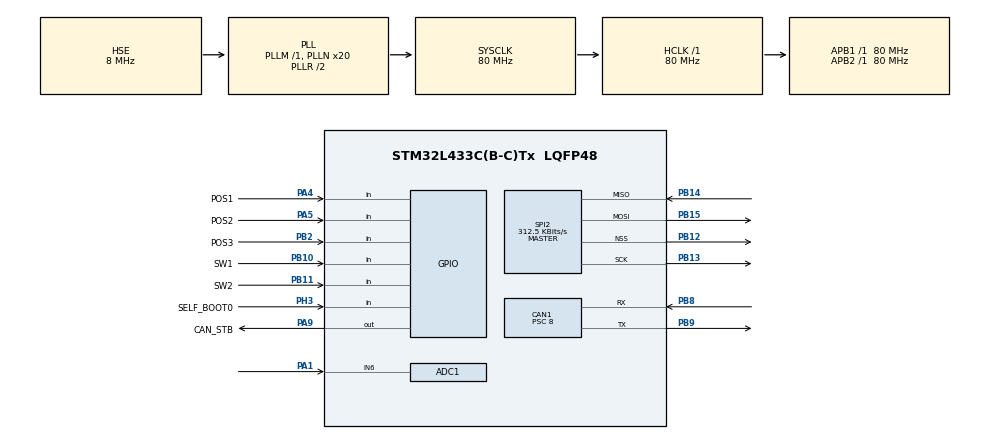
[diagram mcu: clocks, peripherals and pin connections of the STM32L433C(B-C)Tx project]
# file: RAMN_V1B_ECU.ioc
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ADC1.Channel-7\#ChannelRegularConversion=ADC_CHANNEL_6
ADC1.ClockPrescaler=ADC_CLOCK_ASYNC_DIV256
ADC1.ContinuousConvMode=ENABLE
ADC1.DMAContinuousRequests=ENABLE
ADC1.NbrOfConversionFlag=1
ADC1.OffsetNumber-7\#ChannelRegularConversion=ADC_OFFSET_NONE
ADC1.Overrun=ADC_OVR_DATA_OVERWRITTEN
ADC1.Rank-7\#ChannelRegularConversion=1
ADC1.SamplingTime-7\#ChannelRegularConversion=ADC_SAMPLETIME_2CYCLES_5
ADC1.master=1
CAN1.BS1=CAN_BS1_11TQ
CAN1.BS2=CAN_BS2_8TQ
CAN1.CalculateTimeQuantum=100.0
CAN1.NART=ENABLE
CAN1.Prescaler=8
Dma.ADC1.0.Direction=DMA_PERIPH_TO_MEMORY
Dma.ADC1.0.Instance=DMA1_Channel1
Dma.ADC1.0.MemDataAlignment=DMA_MDATAALIGN_HALFWORD
Dma.ADC1.0.MemInc=DMA_MINC_ENABLE
Dma.ADC1.0.Mode=DMA_CIRCULAR
Dma.ADC1.0.PeriphDataAlignment=DMA_PDATAALIGN_HALFWORD
Dma.ADC1.0.PeriphInc=DMA_PINC_DISABLE
Dma.ADC1.0.Priority=DMA_PRIORITY_LOW
Dma.Request0=ADC1
FREERTOS.Tasks01=receiveCANTask,16,1024,receiveCANFunction,Default,NULL,Dynamic,NULL,NULL;send_can,48,256,send_can_func,Default,NULL,Dynamic,NULL,NULL;periodic_normal,24,256,periodic_normal_func,Default,NULL,Dynamic,NULL,NULL;periodic_low,8,256,periodic_low_func,Default,NULL,Dynamic,NULL,NULL;periodic_belown,16,256,periodic_belownormal_func,Default,NULL,Dynamic,NULL,NULL;periodic_high,40,256,periodic_high_func,Default,NULL,Dynamic,NULL,NULL
FREERTOS.configTOTAL_HEAP_SIZE=10000
Mcu.Family=STM32L4
Mcu.Name=STM32L433C(B-C)Tx
Mcu.Package=LQFP48
NVIC.CAN1_RX0_IRQn=true\:5\:0\:false\:false\:true\:true\:true\:true
NVIC.CAN1_RX1_IRQn=true\:5\:0\:false\:false\:true\:true\:true\:true
NVIC.CAN1_SCE_IRQn=true\:5\:0\:false\:false\:true\:true\:true\:true
NVIC.CAN1_TX_IRQn=true\:5\:0\:false\:false\:true\:true\:true\:true
NVIC.DMA1_Channel1_IRQn=true\:5\:0\:false\:false\:true\:true\:false\:true
NVIC.PriorityGroup=NVIC_PRIORITYGROUP_4
NVIC.RNG_IRQn=true\:6\:0\:true\:false\:true\:true\:true\:true
NVIC.TIM1_UP_TIM16_IRQn=true\:0\:0\:false\:false\:true\:false\:false\:true
NVIC.TimeBase=TIM1_UP_TIM16_IRQn
NVIC.TimeBaseIP=TIM1
PA1.Signal=ADCx_IN6
PA13\ (JTMS-SWDIO).Mode=JTAG_5_pins
PA13\ (JTMS-SWDIO).Signal=SYS_JTMS-SWDIO
PA14\ (JTCK-SWCLK).Mode=JTAG_5_pins
PA14\ (JTCK-SWCLK).Signal=SYS_JTCK-SWCLK
PA15\ (JTDI).Mode=JTAG_5_pins
PA15\ (JTDI).Signal=SYS_JTDI
PA4.GPIO_Label=POS1
PA4.GPIO_PuPd=GPIO_PULLUP
PA4.Signal=GPIO_Input
PA5.GPIO_Label=POS2
PA5.GPIO_PuPd=GPIO_PULLUP
PA5.Signal=GPIO_Input
PA9.GPIO_Label=CAN_STB
PA9.Signal=GPIO_Output
PB10.GPIO_Label=SW1
PB10.GPIO_PuPd=GPIO_PULLUP
PB10.Signal=GPIO_Input
PB11.GPIO_Label=SW2
PB11.GPIO_PuPd=GPIO_PULLUP
PB11.Signal=GPIO_Input
PB12.Mode=NSS_Signal_Hard_Output
PB12.Signal=SPI2_NSS
PB13.Mode=Full_Duplex_Master
PB13.Signal=SPI2_SCK
PB14.Mode=Full_Duplex_Master
PB14.Signal=SPI2_MISO
PB15.Mode=Full_Duplex_Master
PB15.Signal=SPI2_MOSI
PB2.GPIO_Label=POS3
PB2.GPIO_PuPd=GPIO_PULLUP
PB2.Signal=GPIO_Input
PB3\ (JTDO-TRACESWO).Mode=JTAG_5_pins
PB3\ (JTDO-TRACESWO).Signal=SYS_JTDO-SWO
PB4\ (NJTRST).Mode=JTAG_5_pins
PB4\ (NJTRST).Signal=SYS_JTRST
PB8.Mode=Master
PB8.Signal=CAN1_RX
PB9.Mode=Master
PB9.Signal=CAN1_TX
PH0-OSC_IN\ (PH0).Mode=HSE-External-Oscillator
PH0-OSC_IN\ (PH0).Signal=RCC_OSC_IN
PH1-OSC_OUT\ (PH1).Mode=HSE-External-Oscillator
PH1-OSC_OUT\ (PH1).Signal=RCC_OSC_OUT
PH3-BOOT0.GPIO_Label=SELF_BOOT0
PH3-BOOT0.Signal=GPIO_Input
ProjectManager.HeapSize=0x200
ProjectManager.StackSize=0x400
ProjectManager.TargetToolchain=STM32CubeIDE
RCC.ADCFreq_Value=48000000
RCC.AHBFreq_Value=80000000
RCC.APB1Freq_Value=80000000
RCC.APB1TimFreq_Value=80000000
RCC.APB2Freq_Value=80000000
RCC.APB2TimFreq_Value=80000000
RCC.CortexFreq_Value=80000000
RCC.HCLKFreq_Value=80000000
RCC.HSE_VALUE=8000000
RCC.HSI48_VALUE=48000000
RCC.HSICalibrationValue=16
RCC.HSI_VALUE=16000000
RCC.LSE_VALUE=32768
RCC.MSI_VALUE=4000000
RCC.PLLN=20
RCC.PLLSAI1N=12
RCC.PLLSourceVirtual=RCC_PLLSOURCE_HSE
RCC.SYSCLKFreq_VALUE=80000000
RCC.SYSCLKSource=RCC_SYSCLKSOURCE_PLLCLK
RCC.USBFreq_Value=48000000
RCC.VCOOutputFreq_Value=160000000
SH.ADCx_IN6.0=ADC1_IN6,IN6-Single-Ended
SPI2.BaudRatePrescaler=SPI_BAUDRATEPRESCALER_256
SPI2.CalculateBaudRate=312.5 KBits/s
SPI2.DataSize=SPI_DATASIZE_8BIT
SPI2.Direction=SPI_DIRECTION_2LINES
SPI2.Mode=SPI_MODE_MASTER
SPI2.VirtualNSS=VM_NSSHARD
SPI2.VirtualType=VM_MASTER
VP_FREERTOS_VS_CMSIS_V2.Mode=CMSIS_V2
VP_RNG_VS_RNG.Mode=RNG_Activate
VP_SYS_VS_tim1.Mode=TIM1
board=custom

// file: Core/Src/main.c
/* USER CODE BEGIN Header */
/**
 ******************************************************************************
 * @file           : main.c
 * @brief          : Main program body
 ******************************************************************************
 * @attention
 *
 * <h2><center>&copy; Copyright (c) 2020 STMicroelectronics.
 * All rights reserved.</center></h2>
 * <h2><center>&copy; Copyright (c) 2020 TOYOTA MOTOR CORPORATION.
 * ALL RIGHTS RESERVED.</center></h2>
 *
 * This software component is licensed by ST under BSD 3-Clause license,
 * the "License"; You may not use this file except in compliance with the
 * License. You may obtain a copy of the License at:
 *                        opensource.org/licenses/BSD-3-Clause
 *
 ******************************************************************************
 */
/* USER CODE END Header */

#include "main.h"
#include "cmsis_os.h"

ADC_HandleTypeDef hadc1;
DMA_HandleTypeDef hdma_adc1;

CAN_HandleTypeDef hcan1;

RNG_HandleTypeDef hrng;

SPI_HandleTypeDef hspi2;

/* Definitions for receiveCANTask */
osThreadId_t receiveCANTaskHandle;
const osThreadAttr_t receiveCANTask_attributes = {
  .name = "receiveCANTask",
  .priority = (osPriority_t) osPriorityBelowNormal,
  .stack_size = 1024 * 4
};
/* Definitions for send_can */
osThreadId_t send_canHandle;
const osThreadAttr_t send_can_attributes = {
  .name = "send_can",
  .priority = (osPriority_t) osPriorityRealtime,
  .stack_size = 256 * 4
};
/* Definitions for periodic_normal */
osThreadId_t periodic_normalHandle;
const osThreadAttr_t periodic_normal_attributes = {
  .name = "periodic_normal",
  .priority = (osPriority_t) osPriorityNormal,
  .stack_size = 256 * 4
};
/* Definitions for periodic_low */
osThreadId_t periodic_lowHandle;
const osThreadAttr_t periodic_low_attributes = {
  .name = "periodic_low",
  .priority = (osPriority_t) osPriorityLow,
  .stack_size = 256 * 4
};
/* Definitions for periodic_belown */
osThreadId_t periodic_belownHandle;
const osThreadAttr_t periodic_belown_attributes = {
  .name = "periodic_belown",
  .priority = (osPriority_t) osPriorityBelowNormal,
  .stack_size = 256 * 4
};
/* Definitions for periodic_high */
osThreadId_t periodic_highHandle;
const osThreadAttr_t periodic_high_attributes = {
  .name = "periodic_high",
  .priority = (osPriority_t) osPriorityHigh,
  .stack_size = 256 * 4
};
/* USER CODE BEGIN PV */
CAN_FilterTypeDef  sFilterConfig;
CAN_RxHeaderTypeDef   RxHeader;
uint8_t               RxData[8];
uint32_t              TxMailbox;
typedef struct{
	CAN_TxHeaderTypeDef TxHeader;
	uint8_t data[8];
	uint8_t requireSend;
	uint16_t counter;
	uint32_t random;
} period_msg_t;

#define MAXIMUM_TX_MSG_COUNT 16
//declare space in memory to save messages
period_msg_t msg1;
period_msg_t msg2;
period_msg_t msg3;
period_msg_t msg4;
period_msg_t msg5;
period_msg_t msg6;
period_msg_t msg7;
period_msg_t msg8;
period_msg_t msg9;
period_msg_t msg10;
period_msg_t msg11;
period_msg_t msg12;
period_msg_t msg13;
period_msg_t msg14;
period_msg_t msg15;
period_msg_t msg16;
const period_msg_t* tx_msgs[MAXIMUM_TX_MSG_COUNT] = {&msg1, &msg2, &msg3, &msg4, &msg5, &msg6, &msg7, &msg8, &msg9, &msg10, &msg11, &msg12, &msg13, &msg14, &msg15, &msg16 };

#define ADD_RANDOM_DATA
#ifdef ADD_RANDOM_DATA
uint16_t rng_counter = 0;
#endif

//#define DOMAIN_POWERTRAIN
#define DOMAIN_CHASSIS
//#define DOMAIN_BODY

#if defined(DOMAIN_POWERTRAIN) || defined(DOMAIN_CHASSIS) || defined(DOMAIN_BODY)
TickType_t high_period = 10;
TickType_t normal_period = 50;
TickType_t belownormal_period = 100;
TickType_t low_period = 500;
#endif

#ifdef DOMAIN_POWERTRAIN
const uint16_t canids[MAXIMUM_TX_MSG_COUNT] = {0x24, 0x39, 0x77, 0x83, 0x146, 0x15A, 0x16F, 0x183, 0x18D, 0x19A, 0x3D4, 0x482};
const period_msg_t* tx_high_msgs[] = {&msg1,&msg2,&msg3,&msg4 };
const period_msg_t* tx_normal_msgs[] = {&msg5,&msg6,&msg7,&msg8,&msg9,&msg10};
const period_msg_t* tx_belownormal_msgs[] = {};
const period_msg_t* tx_low_msgs[] = {&msg11,&msg12};

#define BRAKE msg1
#define ACCEL msg2
#define SHIFT msg3
#define TURNINDICATOR msg4
#define ABS msg6
#define ENGINEMALFUNC msg9
uint8_t brake_command[2] = {0,0};
uint8_t accel_command[2] = {0,0};
uint8_t shift_command[1] = {0};
uint8_t current_shift = 0;
uint8_t turn_signal = 0;
uint8_t center_button_state = 0;
uint8_t previous_adc = 0xF;
#endif

#ifdef DOMAIN_CHASSIS
const uint16_t canids[MAXIMUM_TX_MSG_COUNT] = {0x62, 0x98, 0x198, 0x1A7, 0x1B1, 0x1D3, 0x25C, 0x271, 0x29C, 0x2B1, 0x3DE};
const period_msg_t* tx_high_msgs[] = {&msg1,&msg2};
const period_msg_t* tx_normal_msgs[] = {&msg3,&msg4,&msg5,&msg6};
const period_msg_t* tx_belownormal_msgs[] = {&msg7,&msg8,&msg9,&msg10};
const period_msg_t* tx_low_msgs[] = {&msg11};

#define STEERING msg1
#define HORN msg2
#define STEERINGMALFUNC msg3
#define LAMP msg4
#define SIDEBRAKE msg6
uint8_t steering_command[2] = {0x08,0};
uint8_t sidebrake_command[1] = {0};
#endif

#ifdef DOMAIN_BODY
const uint16_t canids[MAXIMUM_TX_MSG_COUNT] = {0x8D, 0xb4, 0x1b8, 0x1bb, 0x266, 0x27b, 0x286, 0x290, 0x2a6, 0x2bb, 0x420, 0x457, 0x461, 0x46c, 0x477};
const period_msg_t* tx_high_msgs[] = {&msg1, &msg2};
const period_msg_t* tx_normal_msgs[] = {&msg3,&msg4};
const period_msg_t* tx_belownormal_msgs[] = {&msg5,&msg6,&msg7,&msg7,&msg9,&msg10};
const period_msg_t* tx_low_msgs[] = {&msg11,&msg12,&msg13,&msg14,&msg15};

#define TI_STATE msg1
#define HL_STATE msg4
#define ENGINESTATE msg3
#define LOCKSTATE msg7

#define LED_LEFT_TURN 	(1 << 0)
#define LED_HIGH_BEAM 	(1 << 1)
#define LED_WARNING 	(1 << 2)
#define LED_ENGINE 		(1 << 3)
#define LED_TAIL 		(1 << 4)
#define LED_SIDEBRAKE 	(1 << 5)
#define LED_RIGHT_TURN 	(1 << 6)
#define LED_LOW_BEAM 	(1 << 7)

//Key positions: 00 -> right //10 -> center  11 -> left
#define KEY_POS_LEFT 3
#define KEY_POS_CENTER 2
#define KEY_POS_RIGHT 0

uint8_t lockstate = 0;
uint8_t ledstate = 0x00;

#endif

#define TX_HIGH_MSG_COUNT (sizeof(tx_high_msgs)/sizeof(period_msg_t*))
#define TX_NORMAL_MSG_COUNT (sizeof(tx_normal_msgs)/sizeof(period_msg_t*))
#define TX_BELOWNORMAL_MSG_COUNT (sizeof(tx_belownormal_msgs)/sizeof(period_msg_t*))
#define TX_LOW_MSG_COUNT (sizeof(tx_low_msgs)/sizeof(period_msg_t*))
#define TX_MSG_COUNT (TX_HIGH_MSG_COUNT + TX_NORMAL_MSG_COUNT + TX_BELOWNORMAL_MSG_COUNT + TX_LOW_MSG_COUNT)

uint16_t ADCValues[3] = {0,0,0};

uint8_t newBaud = 0;
/* USER CODE END PV */

void SystemClock_Config(void);
static void MX_GPIO_Init(void);
static void MX_DMA_Init(void);
static void MX_CAN1_Init(void);
static void MX_SPI2_Init(void);
static void MX_RNG_Init(void);
static void MX_ADC1_Init(void);
void receiveCANFunction(void *argument);
void send_can_func(void *argument);
void periodic_normal_func(void *argument);
void periodic_low_func(void *argument);
void periodic_belownormal_func(void *argument);
void periodic_high_func(void *argument);

int main(void)
{

  /* MCU Configuration--------------------------------------------------------*/

  /* Reset of all peripherals, Initializes the Flash interface and the Systick. */
  HAL_Init();

  /* USER CODE BEGIN Init */
	for(uint8_t i = 0; i < TX_MSG_COUNT;i++)
	{
		period_msg_t* msg = (period_msg_t*)tx_msgs[i];
		msg->TxHeader.StdId = canids[i];
		msg->TxHeader.ExtId = 0x00;
		msg->TxHeader.RTR = CAN_RTR_DATA;
		msg->TxHeader.IDE = CAN_ID_STD;
		msg->TxHeader.DLC = 8;
#ifdef ADD_RANDOM_DATA
		msg->TxHeader.DLC = 8;
#endif
		msg->TxHeader.TransmitGlobalTime = DISABLE;
		msg->counter = 0;
		msg->random = 0;
	}
  /* USER CODE END Init */

  /* Configure the system clock */
  SystemClock_Config();

  /* Initialize all configured peripherals */
  MX_GPIO_Init();
  MX_DMA_Init();
  MX_CAN1_Init();
  MX_SPI2_Init();
  MX_RNG_Init();
  MX_ADC1_Init();
  /* USER CODE BEGIN 2 */

	// Pull STBY line of CAN transceiver low (high = transceiver OFF)
	HAL_GPIO_WritePin(CAN_STB_GPIO_Port, CAN_STB_Pin, GPIO_PIN_RESET);

  /* USER CODE END 2 */

  /* Init scheduler */
  osKernelInitialize();

  /* Create the thread(s) */
  /* creation of receiveCANTask */
  receiveCANTaskHandle = osThreadNew(receiveCANFunction, NULL, &receiveCANTask_attributes);

  /* creation of send_can */
  send_canHandle = osThreadNew(send_can_func, NULL, &send_can_attributes);

  /* creation of periodic_normal */
  periodic_normalHandle = osThreadNew(periodic_normal_func, NULL, &periodic_normal_attributes);

  /* creation of periodic_low */
  periodic_lowHandle = osThreadNew(periodic_low_func, NULL, &periodic_low_attributes);

  /* creation of periodic_belown */
  periodic_belownHandle = osThreadNew(periodic_belownormal_func, NULL, &periodic_belown_attributes);

  /* creation of periodic_high */
  periodic_highHandle = osThreadNew(periodic_high_func, NULL, &periodic_high_attributes);

  /* USER CODE BEGIN RTOS_THREADS */
	/* add threads, ... */
#ifdef ADD_RANDOM_DATA
	//Refresh  RNG pool
	rng_counter = 0;
	if (HAL_RNG_GenerateRandomNumber_IT(&hrng) != HAL_OK)
	{
		/* RNG peripheral start-up error */
		Error_Handler();
	}
#endif
  /* USER CODE END RTOS_THREADS */

  /* Start scheduler */
  osKernelStart();

  /* We should never get here as control is now taken by the scheduler */
  /* Infinite loop */
	while (1)
	{

	}
}

void SystemClock_Config(void)
{
  RCC_OscInitTypeDef RCC_OscInitStruct = {0};
  RCC_ClkInitTypeDef RCC_ClkInitStruct = {0};
  RCC_PeriphCLKInitTypeDef PeriphClkInit = {0};

  /** Initializes the CPU, AHB and APB busses clocks
  */
  RCC_OscInitStruct.OscillatorType = RCC_OSCILLATORTYPE_HSE;
  RCC_OscInitStruct.HSEState = RCC_HSE_ON;
  RCC_OscInitStruct.PLL.PLLState = RCC_PLL_ON;
  RCC_OscInitStruct.PLL.PLLSource = RCC_PLLSOURCE_HSE;
  RCC_OscInitStruct.PLL.PLLM = 1;
  RCC_OscInitStruct.PLL.PLLN = 20;
  RCC_OscInitStruct.PLL.PLLP = RCC_PLLP_DIV7;
  RCC_OscInitStruct.PLL.PLLQ = RCC_PLLQ_DIV2;
  RCC_OscInitStruct.PLL.PLLR = RCC_PLLR_DIV2;
  if (HAL_RCC_OscConfig(&RCC_OscInitStruct) != HAL_OK)
  {
    Error_Handler();
  }
  /** Initializes the CPU, AHB and APB busses clocks
  */
  RCC_ClkInitStruct.ClockType = RCC_CLOCKTYPE_HCLK|RCC_CLOCKTYPE_SYSCLK
                              |RCC_CLOCKTYPE_PCLK1|RCC_CLOCKTYPE_PCLK2;
  RCC_ClkInitStruct.SYSCLKSource = RCC_SYSCLKSOURCE_PLLCLK;
  RCC_ClkInitStruct.AHBCLKDivider = RCC_SYSCLK_DIV1;
  RCC_ClkInitStruct.APB1CLKDivider = RCC_HCLK_DIV1;
  RCC_ClkInitStruct.APB2CLKDivider = RCC_HCLK_DIV1;

  if (HAL_RCC_ClockConfig(&RCC_ClkInitStruct, FLASH_LATENCY_4) != HAL_OK)
  {
    Error_Handler();
  }
  PeriphClkInit.PeriphClockSelection = RCC_PERIPHCLK_RNG|RCC_PERIPHCLK_ADC;
  PeriphClkInit.AdcClockSelection = RCC_ADCCLKSOURCE_PLLSAI1;
  PeriphClkInit.RngClockSelection = RCC_RNGCLKSOURCE_PLLSAI1;
  PeriphClkInit.PLLSAI1.PLLSAI1Source = RCC_PLLSOURCE_HSE;
  PeriphClkInit.PLLSAI1.PLLSAI1M = 1;
  PeriphClkInit.PLLSAI1.PLLSAI1N = 12;
  PeriphClkInit.PLLSAI1.PLLSAI1P = RCC_PLLP_DIV7;
  PeriphClkInit.PLLSAI1.PLLSAI1Q = RCC_PLLQ_DIV2;
  PeriphClkInit.PLLSAI1.PLLSAI1R = RCC_PLLR_DIV2;
  PeriphClkInit.PLLSAI1.PLLSAI1ClockOut = RCC_PLLSAI1_48M2CLK|RCC_PLLSAI1_ADC1CLK;
  if (HAL_RCCEx_PeriphCLKConfig(&PeriphClkInit) != HAL_OK)
  {
    Error_Handler();
  }
  /** Configure the main internal regulator output voltage
  */
  if (HAL_PWREx_ControlVoltageScaling(PWR_REGULATOR_VOLTAGE_SCALE1) != HAL_OK)
  {
    Error_Handler();
  }
}

static void MX_ADC1_Init(void)
{

  ADC_ChannelConfTypeDef sConfig = {0};

  /** Common config
  */
  hadc1.Instance = ADC1;
  hadc1.Init.ClockPrescaler = ADC_CLOCK_ASYNC_DIV256;
  hadc1.Init.Resolution = ADC_RESOLUTION_12B;
  hadc1.Init.DataAlign = ADC_DATAALIGN_RIGHT;
  hadc1.Init.ScanConvMode = ADC_SCAN_DISABLE;
  hadc1.Init.EOCSelection = ADC_EOC_SINGLE_CONV;
  hadc1.Init.LowPowerAutoWait = DISABLE;
  hadc1.Init.ContinuousConvMode = ENABLE;
  hadc1.Init.NbrOfConversion = 1;
  hadc1.Init.DiscontinuousConvMode = DISABLE;
  hadc1.Init.NbrOfDiscConversion = 1;
  hadc1.Init.ExternalTrigConv = ADC_SOFTWARE_START;
  hadc1.Init.ExternalTrigConvEdge = ADC_EXTERNALTRIGCONVEDGE_NONE;
  hadc1.Init.DMAContinuousRequests = ENABLE;
  hadc1.Init.Overrun = ADC_OVR_DATA_OVERWRITTEN;
  hadc1.Init.OversamplingMode = DISABLE;
  if (HAL_ADC_Init(&hadc1) != HAL_OK)
  {
    Error_Handler();
  }
  /** Configure Regular Channel
  */
  sConfig.Channel = ADC_CHANNEL_6;
  sConfig.Rank = ADC_REGULAR_RANK_1;
  sConfig.SamplingTime = ADC_SAMPLETIME_2CYCLES_5;
  sConfig.SingleDiff = ADC_SINGLE_ENDED;
  sConfig.OffsetNumber = ADC_OFFSET_NONE;
  sConfig.Offset = 0;
  if (HAL_ADC_ConfigChannel(&hadc1, &sConfig) != HAL_OK)
  {
    Error_Handler();
  }

}

static void MX_CAN1_Init(void)
{

  hcan1.Instance = CAN1;
  hcan1.Init.Prescaler = 8;
  hcan1.Init.Mode = CAN_MODE_NORMAL;
  hcan1.Init.SyncJumpWidth = CAN_SJW_1TQ;
  hcan1.Init.TimeSeg1 = CAN_BS1_11TQ;
  hcan1.Init.TimeSeg2 = CAN_BS2_8TQ;
  hcan1.Init.TimeTriggeredMode = DISABLE;
  hcan1.Init.AutoBusOff = DISABLE;
  hcan1.Init.AutoWakeUp = DISABLE;
  hcan1.Init.AutoRetransmission = ENABLE;
  hcan1.Init.ReceiveFifoLocked = DISABLE;
  hcan1.Init.TransmitFifoPriority = DISABLE;
  if (HAL_CAN_Init(&hcan1) != HAL_OK)
  {
    Error_Handler();
  }
  /* USER CODE BEGIN CAN1_Init 2 */
	/*##-2- Configure the CAN Filter ###########################################*/
	sFilterConfig.FilterBank = 0;
	sFilterConfig.FilterMode = CAN_FILTERMODE_IDMASK;
	sFilterConfig.FilterScale = CAN_FILTERSCALE_32BIT;
	sFilterConfig.FilterIdHigh = 0x0000;
	sFilterConfig.FilterIdLow = 0x0000;
	sFilterConfig.FilterMaskIdHigh = 0x0000;
	sFilterConfig.FilterMaskIdLow = 0x0000;
	sFilterConfig.FilterFIFOAssignment = CAN_RX_FIFO0;
	sFilterConfig.FilterActivation = ENABLE;
	sFilterConfig.SlaveStartFilterBank = 14;

	if (HAL_CAN_ConfigFilter(&hcan1, &sFilterConfig) != HAL_OK)
	{
		/* Filter configuration Error */
		Error_Handler();
	}

	/*##-3- Start the CAN peripheral ###########################################*/
	if (HAL_CAN_Start(&hcan1) != HAL_OK)
	{
		/* Start Error */
		Error_Handler();
	}
	/*##-4- Activate CAN RX notification #######################################*/
	if (HAL_CAN_ActivateNotification(&hcan1, CAN_IT_RX_FIFO0_MSG_PENDING) != HAL_OK)
	{
		/* Notification Error */
		Error_Handler();
	}

	//Activate TX Notification
	if (HAL_CAN_ActivateNotification(&hcan1,  CAN_IT_TX_MAILBOX_EMPTY) != HAL_OK)
	{
		/* Notification Error */
		Error_Handler();
	}

	//Activate Error Notification
	if (HAL_CAN_ActivateNotification(&hcan1,  CAN_IT_ERROR) != HAL_OK)
	{
		/* Notification Error */
		Error_Handler();
	}

  /* USER CODE END CAN1_Init 2 */

}

static void MX_RNG_Init(void)
{

  hrng.Instance = RNG;
  if (HAL_RNG_Init(&hrng) != HAL_OK)
  {
    Error_Handler();
  }

}

static void MX_SPI2_Init(void)
{

  /* SPI2 parameter configuration*/
  hspi2.Instance = SPI2;
  hspi2.Init.Mode = SPI_MODE_MASTER;
  hspi2.Init.Direction = SPI_DIRECTION_2LINES;
  hspi2.Init.DataSize = SPI_DATASIZE_8BIT;
  hspi2.Init.CLKPolarity = SPI_POLARITY_LOW;
  hspi2.Init.CLKPhase = SPI_PHASE_1EDGE;
  hspi2.Init.NSS = SPI_NSS_HARD_OUTPUT;
  hspi2.Init.BaudRatePrescaler = SPI_BAUDRATEPRESCALER_256;
  hspi2.Init.FirstBit = SPI_FIRSTBIT_MSB;
  hspi2.Init.TIMode = SPI_TIMODE_DISABLE;
  hspi2.Init.CRCCalculation = SPI_CRCCALCULATION_DISABLE;
  hspi2.Init.CRCPolynomial = 7;
  hspi2.Init.CRCLength = SPI_CRC_LENGTH_DATASIZE;
  hspi2.Init.NSSPMode = SPI_NSS_PULSE_ENABLE;
  if (HAL_SPI_Init(&hspi2) != HAL_OK)
  {
    Error_Handler();
  }

}

static void MX_DMA_Init(void)
{

  /* DMA controller clock enable */
  __HAL_RCC_DMA1_CLK_ENABLE();

  /* DMA interrupt init */
  /* DMA1_Channel1_IRQn interrupt configuration */
  HAL_NVIC_SetPriority(DMA1_Channel1_IRQn, 5, 0);
  HAL_NVIC_EnableIRQ(DMA1_Channel1_IRQn);

}

static void MX_GPIO_Init(void)
{
  GPIO_InitTypeDef GPIO_InitStruct = {0};

  /* GPIO Ports Clock Enable */
  __HAL_RCC_GPIOH_CLK_ENABLE();
  __HAL_RCC_GPIOA_CLK_ENABLE();
  __HAL_RCC_GPIOB_CLK_ENABLE();

  /*Configure GPIO pin Output Level */
  HAL_GPIO_WritePin(CAN_STB_GPIO_Port, CAN_STB_Pin, GPIO_PIN_RESET);

  /*Configure GPIO pins : POS1_Pin POS2_Pin */
  GPIO_InitStruct.Pin = POS1_Pin|POS2_Pin;
  GPIO_InitStruct.Mode = GPIO_MODE_INPUT;
  GPIO_InitStruct.Pull = GPIO_PULLUP;
  HAL_GPIO_Init(GPIOA, &GPIO_InitStruct);

  /*Configure GPIO pins : POS3_Pin SW1_Pin SW2_Pin */
  GPIO_InitStruct.Pin = POS3_Pin|SW1_Pin|SW2_Pin;
  GPIO_InitStruct.Mode = GPIO_MODE_INPUT;
  GPIO_InitStruct.Pull = GPIO_PULLUP;
  HAL_GPIO_Init(GPIOB, &GPIO_InitStruct);

  /*Configure GPIO pin : CAN_STB_Pin */
  GPIO_InitStruct.Pin = CAN_STB_Pin;
  GPIO_InitStruct.Mode = GPIO_MODE_OUTPUT_PP;
  GPIO_InitStruct.Pull = GPIO_NOPULL;
  GPIO_InitStruct.Speed = GPIO_SPEED_FREQ_LOW;
  HAL_GPIO_Init(CAN_STB_GPIO_Port, &GPIO_InitStruct);

  /*Configure GPIO pin : SELF_BOOT0_Pin */
  GPIO_InitStruct.Pin = SELF_BOOT0_Pin;
  GPIO_InitStruct.Mode = GPIO_MODE_INPUT;
  GPIO_InitStruct.Pull = GPIO_NOPULL;
  HAL_GPIO_Init(SELF_BOOT0_GPIO_Port, &GPIO_InitStruct);

}

/* USER CODE BEGIN 4 */
/**
 * @brief  Rx Fifo 0 message pending callback
 * @param  hcan: pointer to a CAN_HandleTypeDef structure that contains
 *         the configuration information for the specified CAN.
 * @retval None
 */
void HAL_CAN_RxFifo0MsgPendingCallback(CAN_HandleTypeDef *hcan)
{
	/* Get RX message */
	if (HAL_CAN_GetRxMessage(hcan, CAN_RX_FIFO0, &RxHeader, RxData) != HAL_OK)
	{
		/* Reception Error */
		Error_Handler();
	}
	else
	{
		switch(RxHeader.StdId)
		{
#if defined(DOMAIN_POWERTRAIN)
		case 0x1A:
			//Brake command
			brake_command[0] = RxData[0];
			brake_command[1] = RxData[1];
			break;
		case 0x2F:
			accel_command[0] = RxData[0];
			accel_command[1] = RxData[1];
			break;
		case 0x6D:
			shift_command[0] = RxData[0];
			break;
#endif
#if defined(DOMAIN_CHASSIS)
		case 0x58:
			//Brake command
			steering_command[0] = RxData[0];
			steering_command[1] = RxData[1];
			break;
		case 0x1C9:
			sidebrake_command[0] = RxData[0];
			break;
#endif

#if defined(DOMAIN_BODY)
		case 0x24:
			if((uint16_t)((RxData[0]<<8)+RxData[1]) > 1) ledstate |= LED_SIDEBRAKE;
			else ledstate &= ~LED_SIDEBRAKE;
			break;
		case 0x83:
			TI_STATE.data[0] = RxData[0];
			if(RxData[0] & 0x01) ledstate |= LED_RIGHT_TURN;
			else ledstate &= ~LED_RIGHT_TURN;
			if(RxData[0] & 0x02) ledstate |= LED_LEFT_TURN;
			else ledstate &= ~LED_LEFT_TURN;
			break;
		case 0x18D:
			if(RxData[0] != 0) ledstate |= LED_ENGINE;
			else ledstate &= ~LED_ENGINE;
			break;
		case 0x198:
			if(RxData[0] != 0) ledstate |= LED_WARNING ;
			else ledstate &= ~LED_WARNING ;
			break;
		case 0x1A7:
			HL_STATE.data[0] = RxData[0];
			if(RxData[0] & 0x01) ledstate |= LED_TAIL;
			else ledstate &= ~LED_TAIL;
			if(RxData[0] & 0x02) ledstate |= LED_LOW_BEAM;
			else ledstate &= ~LED_LOW_BEAM;
			if(RxData[0] & 0x04) ledstate |= LED_HIGH_BEAM;
			else ledstate &= ~LED_HIGH_BEAM;
			break;
			//		case 0x1D3:
			//			if(RxData[0] != 0) ledstate |= LED_SIDEBRAKE  ;
			//			else ledstate &= ~LED_SIDEBRAKE  ;
			//			break;
#endif

			// ID 0x01 is reserved as message to change baudrate on the fly
		case 0x01:
			switch(RxData[0])
			{
			case 0:
				hcan1.Init.Prescaler = 400; // 10k
				break;
			case 1:
				hcan1.Init.Prescaler = 200; // 20k
				break;
			case 2:
				hcan1.Init.Prescaler = 80; // 50k
				break;
			case 3:
				hcan1.Init.Prescaler = 40; // 100k
				break;
			case 4:
				hcan1.Init.Prescaler = 32; // 125k
				break;
			case 5:
				hcan1.Init.Prescaler = 16; // 250k
				break;
			case 6:
				hcan1.Init.Prescaler = 8; // 500k
				break;
			case 7:
				hcan1.Init.Prescaler = 5; // 800k
				break;
			case 8:
				hcan1.Init.Prescaler = 4; // 1MHz
				break;
			default:
				//keep 128 divider (125k, same as STM32 CAN Bootloader) as default
				hcan1.Init.Prescaler = 128;
				break;
			}

			newBaud = 1;
			BaseType_t xHigherPriorityTaskWoken = pdFALSE;
			vTaskNotifyGiveFromISR(receiveCANTaskHandle,&xHigherPriorityTaskWoken);
			portYIELD_FROM_ISR( xHigherPriorityTaskWoken );

			break;
			// ID 0x02 is used to change the period of messages
			case 0x02:
				switch(RxData[0])
				{
				case 0:
					high_period = (TickType_t)((RxData[1]<<8) + RxData[2]);
					break;
				case 1:
					normal_period = (TickType_t)((RxData[1]<<8) + RxData[2]);
					break;
				case 2:
					belownormal_period = (TickType_t)((RxData[1]<<8) + RxData[2]);
					break;
				case 3:
					low_period   = (TickType_t)((RxData[1]<<8) + RxData[2]);
					break;
				}

				break;
		}

	}
}

void HAL_CAN_TxMailbox0CompleteCallback(CAN_HandleTypeDef *hcan)
{
	BaseType_t xHigherPriorityTaskWoken = pdFALSE;
	vTaskNotifyGiveFromISR(send_canHandle,&xHigherPriorityTaskWoken);
	portYIELD_FROM_ISR( xHigherPriorityTaskWoken );
}

void HAL_CAN_TxMailbox1CompleteCallback(CAN_HandleTypeDef *hcan)
{
	BaseType_t xHigherPriorityTaskWoken = pdFALSE;
	vTaskNotifyGiveFromISR(send_canHandle,&xHigherPriorityTaskWoken);
	portYIELD_FROM_ISR( xHigherPriorityTaskWoken );
}

void HAL_CAN_TxMailbox2CompleteCallback(CAN_HandleTypeDef *hcan)
{
	BaseType_t xHigherPriorityTaskWoken = pdFALSE;
	vTaskNotifyGiveFromISR(send_canHandle,&xHigherPriorityTaskWoken);
	portYIELD_FROM_ISR( xHigherPriorityTaskWoken );
}

void HAL_CAN_ErrorCallback(CAN_HandleTypeDef *hcan)
{
	uint32_t err = HAL_CAN_GetError(hcan);
	if ((err & (HAL_CAN_ERROR_TX_ALST0 | HAL_CAN_ERROR_TX_TERR0)) != 0)
	{
		//Error in Mailbox 0
		//HAL_CAN_AbortTxRequest(hcan,CAN_TX_MAILBOX0);
	}
	if ((err & (HAL_CAN_ERROR_TX_ALST1 | HAL_CAN_ERROR_TX_TERR1)) != 0)
	{
		//Error in Mailbox 1
		//HAL_CAN_AbortTxRequest(hcan,CAN_TX_MAILBOX1);
	}
	if ((err & (HAL_CAN_ERROR_TX_ALST2 | HAL_CAN_ERROR_TX_TERR2)) != 0)
	{
		//Error in Mailbox 2
		//HAL_CAN_AbortTxRequest(hcan,CAN_TX_MAILBOX2);
	}
	HAL_CAN_ResetError(hcan);
}

void HAL_RNG_ReadyDataCallback(RNG_HandleTypeDef* hrng, uint32_t random32bit)
{

	/* Straight random number retrieval */
	period_msg_t* msg = (period_msg_t*)tx_msgs[rng_counter];
	msg->random = random32bit;
	rng_counter++;

	/* HAL_RNG_IRQHandler() disables IT at each interruption,
     so, need to re-enable IT in callback to get several random numbers in a row */
	if (rng_counter < MAXIMUM_TX_MSG_COUNT)
	{
		HAL_RNG_GenerateRandomNumber_IT(hrng);
	}

}

/* USER CODE END 4 */

void receiveCANFunction(void *argument)
{
  /* USER CODE BEGIN 5 */

	/* Infinite loop */
	for(;;)
	{

		if(newBaud != 0)
		{
			if (HAL_CAN_Init(&hcan1) != HAL_OK)
			{
				Error_Handler();
			}
			//Update CAN adapter with new baudrate settings
			if (HAL_CAN_ConfigFilter(&hcan1, &sFilterConfig) != HAL_OK)
			{
				/* Filter configuration Error */
				Error_Handler();
			}

			/*##-3- Start the CAN peripheral ###########################################*/
			if (HAL_CAN_Start(&hcan1) != HAL_OK)
			{
				/* Start Error */
				Error_Handler();
			}

			/*##-4- Activate CAN RX notification #######################################*/
			if (HAL_CAN_ActivateNotification(&hcan1, CAN_IT_RX_FIFO0_MSG_PENDING) != HAL_OK)
			{
				/* Notification Error */
				Error_Handler();
			}
			if (HAL_CAN_ActivateNotification(&hcan1, CAN_IT_TX_MAILBOX_EMPTY) != HAL_OK)
			{
				/* Notification Error */
				Error_Handler();
			}
			newBaud = 0;
		}
		ulTaskNotifyTake( pdTRUE, portMAX_DELAY  );

	}
  /* USER CODE END 5 */
}

void send_can_func(void *argument)
{
  /* USER CODE BEGIN send_can_func */

	for(;;)
	{
		for(uint8_t i = 0;i < TX_MSG_COUNT;i++)
		{
			period_msg_t* msg = (period_msg_t*)tx_msgs[i];
			if (HAL_CAN_GetTxMailboxesFreeLevel(&hcan1) > 0 )
			{
				if (msg->requireSend != 0)
				{

#if defined(ADD_RANDOM_DATA)
					msg->data[2] = (uint8_t)(msg->counter >> 8);
					msg->data[3] = (uint8_t)msg->counter;
					msg->data[4] = (uint8_t)(msg->random >> 24);
					msg->data[5] = (uint8_t)(msg->random >> 16);
					msg->data[6] = (uint8_t)(msg->random >> 8);
					msg->data[7] = (uint8_t)(msg->random);
#endif

msg->counter++;

if (HAL_CAN_AddTxMessage(&hcan1, &msg->TxHeader, msg->data, &TxMailbox) != HAL_OK)
{
	/* Transmission request Error */
	Error_Handler();
}
else
{

	msg->requireSend = 0;
}
				}
				else
				{
					continue;
				}
			}
			else
			{
				//No TX space, go nap nap
				ulTaskNotifyTake( pdTRUE, 1000 );
				//Restart from 0 when wake up
				i = -1;
			}
		}
		//If we reach this, it means all messages had a chance to be sent.
		//Go sleep sleep
		ulTaskNotifyTake( pdTRUE, 1000 );

	}

  /* USER CODE END send_can_func */
}

void periodic_normal_func(void *argument)
{
  /* USER CODE BEGIN periodic_normal_func */
	TickType_t xLastWakeTime;
	xLastWakeTime = xTaskGetTickCount();

	for(;;)
	{

#if defined(DOMAIN_CHASSIS)
		uint8_t sidebrake_switch = 0;
		uint8_t horn_switch = 0;
		if (!HAL_GPIO_ReadPin(POS1_GPIO_Port, POS1_Pin)) {LAMP.data[0] = 7;}
		else if (!HAL_GPIO_ReadPin(POS2_GPIO_Port, POS2_Pin)) {LAMP.data[0] = 3;}
		else if (!HAL_GPIO_ReadPin(POS3_GPIO_Port, POS3_Pin)) {LAMP.data[0] = 1;}
		else LAMP.data[0] = 0;
		if(!HAL_GPIO_ReadPin(SW1_GPIO_Port, SW1_Pin)) sidebrake_switch = 0;
		else sidebrake_switch = 1;
		if(HAL_GPIO_ReadPin(SW2_GPIO_Port, SW2_Pin)) horn_switch = 0;
		else horn_switch = 1;

		SIDEBRAKE.data[0] = sidebrake_switch | sidebrake_command[0];
		HORN.data[0] = horn_switch;
#endif

#if defined(DOMAIN_BODY)
		uint8_t keystate = 0;
		if (HAL_GPIO_ReadPin(POS1_GPIO_Port, POS1_Pin)) {keystate |= 1;}
		if (HAL_GPIO_ReadPin(POS2_GPIO_Port, POS2_Pin)) {keystate |= 2;}
		if(keystate == KEY_POS_RIGHT) ENGINESTATE.data[0] = 0x01;
		else ENGINESTATE.data[0] = 0x00;
#endif

		for(uint8_t i = 0;i < TX_NORMAL_MSG_COUNT;i++)
		{
			period_msg_t* msg = (period_msg_t*)tx_normal_msgs[i];
			msg->requireSend = 1;
		}
		vTaskDelayUntil( &xLastWakeTime, normal_period );
	}
  /* USER CODE END periodic_normal_func */
}

void periodic_low_func(void *argument)
{
  /* USER CODE BEGIN periodic_low_func */
	TickType_t xLastWakeTime;
	xLastWakeTime = xTaskGetTickCount();

	for(;;)
	{
		for(uint8_t i = 0;i < TX_LOW_MSG_COUNT;i++)
		{
			period_msg_t* msg = (period_msg_t*)tx_low_msgs[i];
			msg->requireSend = 1;
		}
		//notify CAN sending thread that new messages have been added
		xTaskNotifyGive(send_canHandle);
		vTaskDelayUntil( &xLastWakeTime, low_period );
	}
  /* USER CODE END periodic_low_func */
}

void periodic_belownormal_func(void *argument)
{
  /* USER CODE BEGIN periodic_belownormal_func */
	TickType_t xLastWakeTime;
	xLastWakeTime = xTaskGetTickCount();

	for(;;)
	{
#if defined(DOMAIN_BODY)
		uint8_t keystate = 0;
		if (HAL_GPIO_ReadPin(POS1_GPIO_Port, POS1_Pin)) {keystate |= 1;}
		if (HAL_GPIO_ReadPin(POS2_GPIO_Port, POS2_Pin)) {keystate |= 2;}
		if(keystate == KEY_POS_LEFT) LOCKSTATE.data[0] = 0x01;
		else LOCKSTATE.data[0] = 0x00;
#endif
		for(uint8_t i = 0;i < TX_BELOWNORMAL_MSG_COUNT;i++)
		{
			period_msg_t* msg = (period_msg_t*)tx_belownormal_msgs[i];
			msg->requireSend = 1;

		}
		//notify CAN sending thread that new messages have been added
		xTaskNotifyGive(send_canHandle);
		vTaskDelayUntil( &xLastWakeTime, belownormal_period );
	}
  /* USER CODE END periodic_belownormal_func */
}

void periodic_high_func(void *argument)
{
  /* USER CODE BEGIN periodic_high_func */
	uint16_t tmp = 0;
	TickType_t xLastWakeTime;
	xLastWakeTime = xTaskGetTickCount();

#if defined(DOMAIN_POWERTRAIN)
	HAL_ADC_Start_DMA(&hadc1, (uint32_t*)ADCValues, 3);
#elif defined(DOMAIN_CHASSIS)
	HAL_ADC_Start_DMA(&hadc1, (uint32_t*)ADCValues, 1);

#elif defined(DOMAIN_BODY)
	//OE must be set to 0 to activate LED driver output
	HAL_GPIO_WritePin(OE_GPIO_Port, OE_Pin, GPIO_PIN_RESET);
	HAL_GPIO_WritePin(LE_GPIO_Port, LE_Pin, GPIO_PIN_SET);
	//LE must be set to 1 to activate latching of output register

#endif
	for(;;)
	{
#if defined(DOMAIN_POWERTRAIN)

		if(((ADCValues[0]) > 10) || ((ADCValues[1]) > 10)) //if there is action on any of the pedals, override other commands
		{
			BRAKE.data[0] = (uint8_t)((ADCValues[0]>>8)&0xFF);
			BRAKE.data[1] = (uint8_t)ADCValues[0]&0xFF;
			ACCEL.data[0] = (uint8_t)((ADCValues[1]>>8)&0xFF);
			ACCEL.data[1] = (uint8_t)ADCValues[1]&0xFF;
			ENGINEMALFUNC.data[0] = 0x01; //note an engine malfunction
		}
		else
		{
			BRAKE.data[0] = brake_command[0];
			BRAKE.data[1] = brake_command[1];
			ACCEL.data[0] = accel_command[0];
			ACCEL.data[1] = accel_command[1];
			ENGINEMALFUNC.data[0] = 0x00;
		}

		//MSB OF ADC OF JOYSTICK: 0F -> released 0A -> CENTER 01 -> UP 04 -> DOWN 0C -> RIGHT //07 -> LEFT
		tmp = ADCValues[2] = (uint8_t)((ADCValues[2]>>8)&0xFF);
		if(tmp != previous_adc)
		{
			switch(tmp)
			{
			case 0x0F:
				//button is released:
				break;
			case 0x0A:
				//center button
				center_button_state ^= 0x01;
				break;
			case 0x1:
				//up button
				current_shift++;
				break;
			case 0x4:
				//down button
				current_shift--;
				break;
			case 0xc:
				//right button
				if(turn_signal == 2) turn_signal = 0;

				turn_signal ^= 1;
				break;
			case 0x7:
				//left button
				if(turn_signal == 1) turn_signal = 0;
				turn_signal ^= 2;
				break;
			}
		}
		previous_adc = tmp;

		SHIFT.data[0] = (uint8_t)current_shift;
		TURNINDICATOR.data[0] = (uint8_t)turn_signal;
		ABS.data[0] = (uint8_t)center_button_state;

#elif defined(DOMAIN_BODY)
		HAL_SPI_Transmit(&hspi2, (uint8_t *)&ledstate, 1, HAL_MAX_DELAY);
		//HAL_GPIO_WritePin(LE_GPIO_Port, LE_Pin, GPIO_PIN_RESET);
#elif defined(DOMAIN_CHASSIS)
		if((ADCValues[0] > 0x810) || (ADCValues[0] < 0x7F0))  //if there is action on any of the pedals, override other commands
		{
			STEERING.data[0] = (uint8_t)((ADCValues[0]>>8)&0xFF);
			STEERING.data[1] = (uint8_t)ADCValues[0]&0xFF;
			STEERINGMALFUNC.data[0] = 0x01; //note a steering malfunction
		}
		else
		{
			STEERING.data[0] = steering_command[0];
			STEERING.data[1] = steering_command[1];
			STEERINGMALFUNC.data[0] = 0x00;
		}
#endif

		for(uint8_t i = 0;i < TX_HIGH_MSG_COUNT;i++)
		{
			period_msg_t* msg = (period_msg_t*)tx_high_msgs[i];
			//msg->requireSend = 0;
			//msg->data[0] = 0x04;
			//msg->data[1] = 0x01;
			msg->requireSend = 1;
		}
		//notify CAN sending thread that new messages have been added
		xTaskNotifyGive(send_canHandle);

#ifdef ADD_RANDOM_DATA
		//Refresh  RNG pool
		rng_counter = 0;
		if (HAL_RNG_GenerateRandomNumber_IT(&hrng) != HAL_OK)
		{
			/* RNG peripheral start-up error */
			Error_Handler();
		}
#endif
		vTaskDelayUntil( &xLastWakeTime, high_period );
	}
  /* USER CODE END periodic_high_func */
}

 /**
  * @brief  Period elapsed callback in non blocking mode
  * @note   This function is called  when TIM1 interrupt took place, inside
  * HAL_TIM_IRQHandler(). It makes a direct call to HAL_IncTick() to increment
  * a global variable "uwTick" used as application time base.
  * @param  htim : TIM handle
  * @retval None
  */
void HAL_TIM_PeriodElapsedCallback(TIM_HandleTypeDef *htim)
{
  if (htim->Instance == TIM1) {
    HAL_IncTick();
  }
}

void Error_Handler(void)
{
}

/************************ (C) COPYRIGHT STMicroelectronics *****END OF FILE****/
